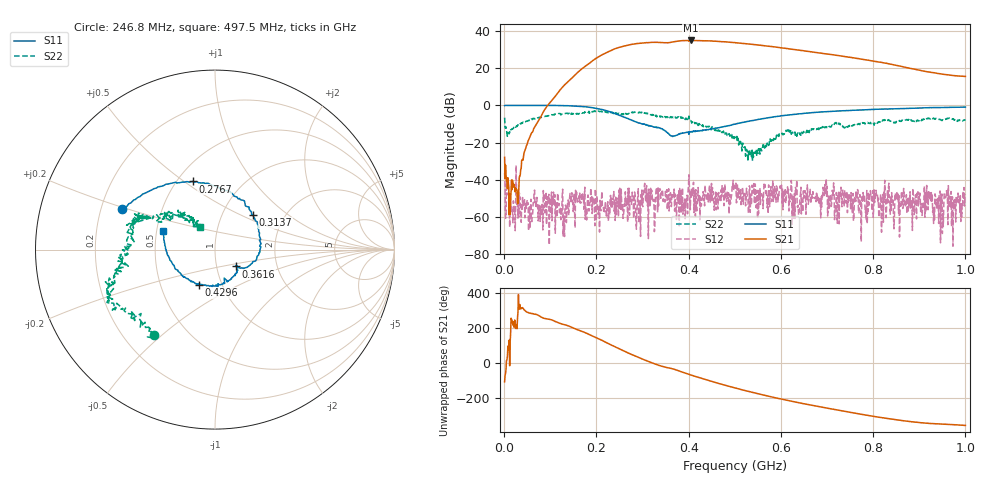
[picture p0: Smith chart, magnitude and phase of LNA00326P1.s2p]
! Created with skrf 1.9.0 (http://scikit-rf.org).
# Hz S RI R 50.0
!freq ReS11 ImS11 ReS21 ImS21 ReS12 ImS12 ReS22 ImS22
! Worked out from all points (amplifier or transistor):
!   1001 points, 1 MHz to 1 GHz, reference 50 ohm
!   highest |S21| = 34.9 dB at 404.6 MHz (marker M1)
!   |S21| within 3 dB of that: 260.2 MHz to 569.4 MHz (309.2 MHz wide, 74.5 % of centre) (the widest 1 of 2)
!   unconditionally stable (mu >= 1): 194.9 MHz to 290.6 MHz; 401 MHz to 825.1 MHz; 825.2 MHz to end of sweep (the widest 3 of 31)
!   at 166.8 MHz: K = 2.02, MAG = 30.1 dB, |S12| = -52.3 dB
!   at 500.5 MHz: K = 1.56, MAG = 34.2 dB, |S12| = -43.5 dB
!   at 1 GHz: K = 3.31, MAG = 23.5 dB, |S12| = -47.5 dB
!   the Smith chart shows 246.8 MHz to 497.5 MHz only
!   S11 on the Smith chart (normalised r, x): 246.8 MHz: 0.29, +0.19; 276.7 MHz: 0.60, +0.54; 313.7 MHz: 1.40, +0.59; 361.6 MHz: 1.24, -0.24; 429.6 MHz: 0.78, -0.32; 497.5 MHz: 0.54, +0.13
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1000000  0.9799 -0.00583  -0.0114 -0.0388  -0.0107 0.0109  0.3626 0.2933
1.08892e8  0.5153 -0.8504  -0.7742 -1.447  0.00169 0.000995  0.4203 -0.3598
1.67833e8  -0.2443 -0.8984  -9.454 -0.6057  -0.00103 -0.00414  0.0412 -0.6302
2.11789e8  -0.703 -0.3351  -14.91 17.06  0.00194 0.00446  -0.2104 -0.6419
2.46754e8  -0.5162 0.2245  2.226 35.29  -0.00117 0.00246  -0.3376 -0.4774
2.76724e8  -0.1253 0.38  28.08 33.15  -0.00109 0.00249  -0.5567 -0.3354
3.13687e8  0.2133 0.1943  48.21 7.547  -0.00509 0.00246  -0.5644 -0.146
3.34666e8  0.2508 -0.000161  48.22 -9.572  -0.00112 0.00163  -0.5319 -0.0542
3.61639e8  0.1181 -0.0936  43.08 -24.28  0.00189 0.000672  -0.4779 0.1149
3.79621e8  0.1225 -0.117  38.35 -37.68  9.75e-05 0.000575  -0.4238 0.1801
4.04596e8  0.0457 -0.1908  21.34 -51.18  -0.00334 0.00391  -0.3394 0.1927
4.29571e8  -0.0884 -0.1969  1.973 -54.4  -0.000135 0.00313  -0.2037 0.1877
4.59541e8  -0.2233 -0.1018  -19.33 -49.15  -0.00138 0.000738  -0.1427 0.1507
4.97503e8  -0.2893 0.1056  -36.85 -31.8  0.00506 0.000849  -0.081 0.1239
5.005e8  -0.2848 0.1222  -38.03 -30.27  0.00233 -0.00627  -0.1021 0.096
5.4046e8  -0.2121 0.3327  -42.23 -8.782  0.00349 -0.00393  -0.0359 0.0194
5.88412e8  -0.0029 0.4974  -34.97 11.61  0.00278 0.000201  -0.0937 -0.0791
6.28372e8  0.1985 0.5394  -24.08 20.61  0.00352 -0.000625  -0.1543 -0.0997
6.67333e8  0.3888 0.5053  -13.08 23.77  -0.000443 -0.00375  -0.2207 -0.0593
7.53247e8  0.6735 0.2917  4.194 18.75  -0.0018 0.000511  -0.2812 0.00156
8.34166e8  0.7992 0.0283  9.674 8.783  -0.00269 -0.00765  -0.3965 0.0265
1e9  0.7338 -0.5191  5.989 0.3747  -0.00419 -0.000197  -0.2083 0.3279
